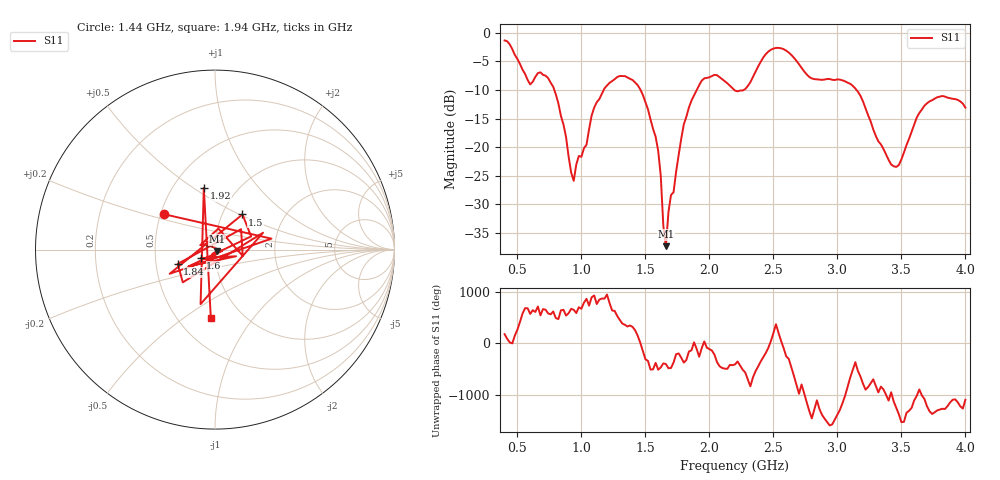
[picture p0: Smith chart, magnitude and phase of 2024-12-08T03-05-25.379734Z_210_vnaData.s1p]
!Created with skrf (http://scikit-rf.org).
# Hz S RI R 50.0
!freq ReS11 ImS11
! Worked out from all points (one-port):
!   181 points, 400 MHz to 4 GHz, reference 50 ohm
!   lowest |S11| = -37.3 dB at 1.66 GHz (marker M1), VSWR 1.03, Z = 51 - j0.895 ohm
!   |S11| at or under -10 dB: 788.5 MHz to 1.174 GHz (385.7 MHz wide, 39.3 % of centre); 1.462 GHz to 1.901 GHz (438.9 MHz wide, 26.1 % of centre); 3.15 GHz to end of sweep (the widest 3 of 4)
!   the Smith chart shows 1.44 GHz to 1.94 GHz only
!   S11 on the Smith chart (normalised r, x): 1.44 GHz: 0.52, +0.23; 1.5 GHz: 1.24, +0.52; 1.6 GHz: 0.85, -0.08; 1.84 GHz: 0.65, -0.11; 1.92 GHz: 0.70, +0.55; 1.94 GHz: 0.72, -0.64
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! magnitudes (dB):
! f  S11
! 400 MHz  -1.3
! 600 MHz  -9.0
! 740 MHz  -7.9
! 860 MHz  -16.0
! 940 MHz  -25.9
! 1.1 GHz  -13.1
! 1.3 GHz  -7.5
! 1.44 GHz  -9.2
! 1.5 GHz  -12.1
! 1.6 GHz  -20.7
! 1.62 GHz  -25.0
! 1.64 GHz  -33.7
! 1.66 GHz  -37.3
! 1.68 GHz  -31.4
! 1.76 GHz  -21.3
! 1.84 GHz  -13.1
! 1.92 GHz  -9.1
! 1.94 GHz  -8.4
! 2.2 GHz  -10.1
! 2.48 GHz  -3.0
! 2.66 GHz  -4.4
! 2.8 GHz  -8.0
! 3.1 GHz  -8.9
! 3.42 GHz  -23.0
! 3.48 GHz  -23.1
! 3.56 GHz  -18.5
! 3.72 GHz  -12.0
! 4 GHz  -13.1
